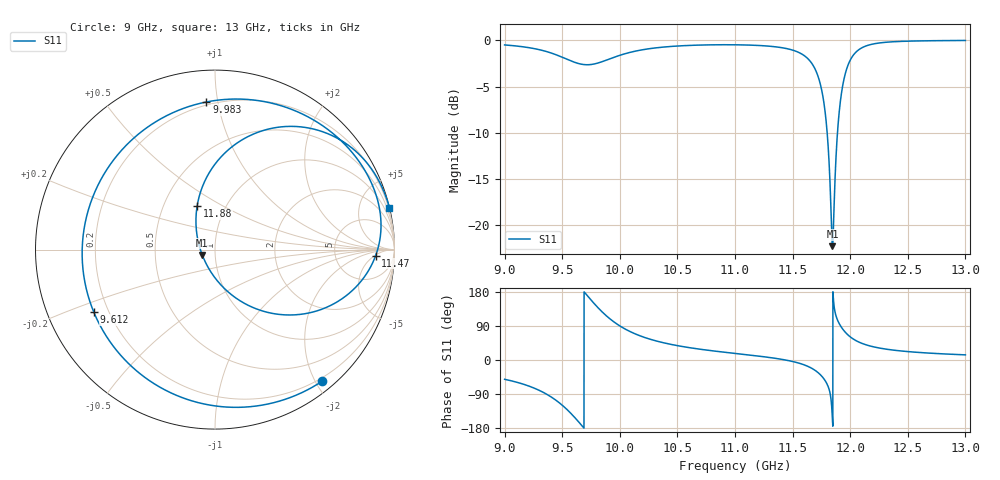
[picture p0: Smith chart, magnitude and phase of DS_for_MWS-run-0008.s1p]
! TOUCHSTONE file generated by CST DESIGN STUDIO
! Date and time: Tue Feb  4 18:09:29 2025
! Project name: C:\Work\MatlabApps\UnitCellOptimizationMatlab\CST\unitcell.cst
! Tree item: Tasks\Sweep1\SPara1\S-Parameters
! Header version: 2024
! Port assignment regex: !\s*Touchstone port\s*([0-9]+)\s*=\s*(CST MWS port|CST DES external port|CST DES block port)\s*(.+)\s* \(\"(.*)\"\)(\s*mode\s*([0-9]+))?.*
! Touchstone port assignment:
! Touchstone port 1 = CST DES external port 1 ("")
# GHz S MA R 50
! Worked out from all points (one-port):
!   4001 points, 9 GHz to 13 GHz, reference 50 ohm
!   lowest |S11| = -22.3 dB at 11.85 GHz (marker M1), VSWR 1.17, Z = 43.3 - j2.57 ohm
!   |S11| at or under -10 dB: 11.8 GHz to 11.89 GHz (89.33 MHz wide, 0.754 % of centre)
!   S11 on the Smith chart (normalised r, x): 9 GHz: 0.15, -2.09; 9.612 GHz: 0.14, -0.24; 9.983 GHz: 0.18, +0.93; 11.47 GHz: 16, -6; 11.88 GHz: 0.74, +0.38; 13 GHz: 0.01, +8.42
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9  0.9455 -50.9
9.172  0.9215 -64.7
9.325  0.8839 -83.8
9.5  0.8112 -119.3
9.612  0.7597 -152.8
9.685  0.7406 -178.3
9.757  0.7417 156.0
9.867  0.7755 121.1
9.983  0.824 93.3
10  0.8307 90.0
10.221  0.8953 58.9
10.5  0.9327 37.9
11  0.9471 17.4
11.474  0.8956 -2.2
11.5  0.8864 -3.9
11.644  0.7831 -18.4
11.743  0.5725 -39.4
11.794  0.35 -60.4
11.834  0.1168 -105.0
11.846  0.07706 -157.4
11.859  0.1202 145.0
11.881  0.261 112.5
11.927  0.5319 85.0
12  0.7818 61.1
12.077  0.8929 47.1
12.173  0.9484 36.9
12.5  0.9908 22.2
13  0.9996 13.5
